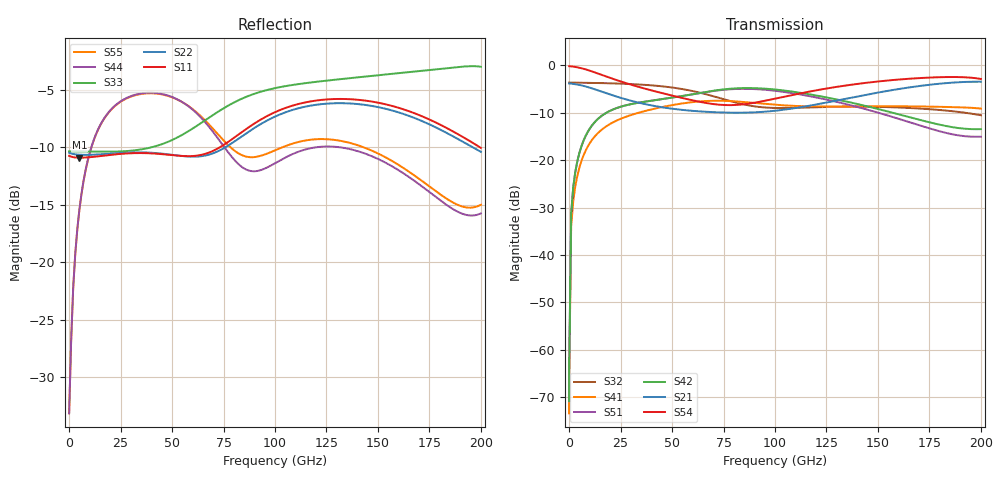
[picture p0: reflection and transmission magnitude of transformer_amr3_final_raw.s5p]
#  GHZ S DB R 50.0
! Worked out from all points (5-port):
!   202 points, 10 MHz to 200 GHz, reference 50 ohm
!   strongest paths, dB at 10 MHz, 49 GHz, 100 GHz, 150 GHz, 200 GHz:
!     S54: -0.2, -6.3, -7.0, -3.4, -2.9
!     S21: -3.8, -9.1, -9.6, -5.8, -3.5
!     S42: -70.8, -6.9, -5.1, -9.2, -13.5
!     S51: -70.8, -6.9, -5.4, -10.0, -15.1
!     S41: -73.4, -8.5, -8.3, -8.6, -9.1
!     S32: -3.7, -4.6, -9.0, -8.8, -10.5
!   lowest |S11| = -10.9 dB at 5 GHz (marker M1), VSWR 1.80, Z = 29.1 + j8.76 ohm
!   |S11| at or under -10 dB: start of sweep to 73.05 GHz; 199.6719 GHz to end of sweep
